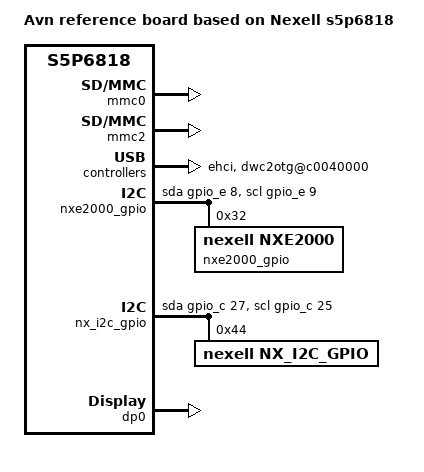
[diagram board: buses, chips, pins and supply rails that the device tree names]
/*
 * (C) Copyright 2016 Nexell
 * Hyejung Kwon <cjscld15@nexell.co.kr>
 *
 * SPDX-License-Identifier: GPL-2.0+
 */

/dts-v1/;
#include "s5p6818.dtsi"
#include "s5p6818-avn-ref-nxe2000.dtsi"

/ {
	model = "Avn reference board based on Nexell s5p6818";
	cpu-model = "S5p6818";

	compatible = "nexell,avn-ref", "nexell,avn",
		   "nexell,s5p6818";

	mmc0:mmc@c0062000 {
		frequency = <50000000>;
		nexell,drive_dly = <0x0>;
		nexell,drive_shift = <0x03>;
		nexell,sample_dly = <0x00>;
		nexell,sample_shift = <0x02>;
		status = "okay";
	};

	mmc2:mmc@c0069000 {
		frequency = <50000000>;
		nexell,drive_dly = <0x0>;
		nexell,drive_shift = <0x03>;
		nexell,sample_dly = <0x00>;
		nexell,sample_shift = <0x02>;
		nexell,bus-width = <8>;
		index = <2>;
		status = "okay";
	};

	ehci:usbhost@c0030000 {
		status = "okay";
	};

	dwc2otg@c0040000 {
		status = "okay";
	};

	nxe2000_gpio:i2c_gpio@0 {
		compatible = "i2c-gpio";
		#address-cells = <1>;
		#size-cells = <0>;
		gpios = <&gpio_e 8 1>,	/* SDA */
		      <&gpio_e 9 1>;	/* SCL */

		i2c-gpio,delay-us = <3>;
		nxe2000_gpio@32 {
			compatible = "nexell,nxe2000";
			reg = <0x32>;
		};
	};

	nx_i2c_gpio:i2c_gpio@5 {
		#address-cells = <1>;
		#size-cells = <0>;
		compatible = "i2c-gpio";
		gpios = <&gpio_c 27 0>,
			<&gpio_c 25 0>;
		i2c-gpio,delay-us = <1>;
		nx_i2c_gpio@44 {
			compatible = "nexell,nx_i2c_gpio";
			reg = <0x44>;
			sda_pad = <1>;
			scl_pad = <1>;
		};
	};

	dp0:dp@c0102800 {
	        status = "okay";
	        module = <0>;
	        lcd-type = "lvds";

		dp-device {
			format = <0>;	/* 0:VESA, 1:JEIDA */
		};

		dp-sync {
			h_active_len = <1024>;
			h_front_porch = <160>;
			h_back_porch = <140>;
			h_sync_width = <20>;
			v_active_len = <600>;
			v_front_porch = <12>;
			v_back_porch = <20>;
			v_sync_width = <3>;
		};

		dp-ctrl {
			clk_src_lv0 = <3>;
			clk_div_lv0 = <15>;
			clk_src_lv1 = <7>;
			clk_div_lv1 = <1>;
			out_format = <2>;
		};

		dp-planes {
			layer_top {
				screen_width = <1024>;
				screen_height = <600>;
				back_color = <0x0>;
			};

			layer_1 {	/* RGB 1 */
				width = <1024>;
				height = <600>;
				format = <0x06530000>;
				pixel_byte = <4>;
			};
		};
	};
};
